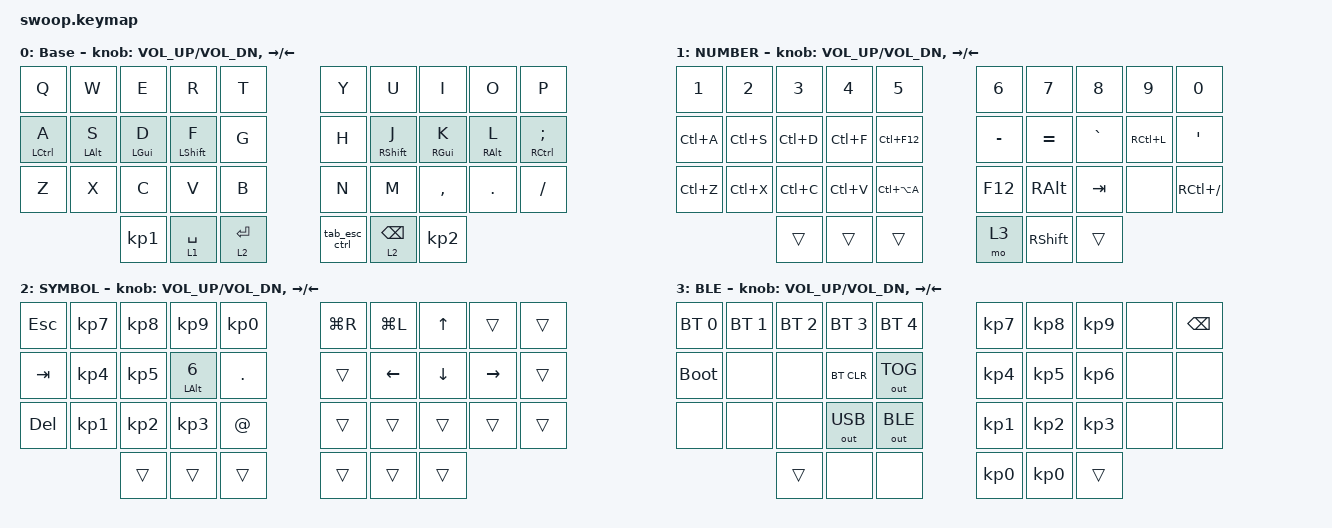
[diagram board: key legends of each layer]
/*
 * Copyright (c) 2020 duckyb
 *
 * SPDX-License-Identifier: MIT
 */

#include <behaviors.dtsi>
#include <dt-bindings/zmk/bt.h>
#include <dt-bindings/zmk/keys.h>
#include <dt-bindings/zmk/outputs.h>

/ {
    behaviors {
        tab_esc_ctrl: tab_esc_ctrl {
            compatible = "zmk,behavior-tap-dance";
            label = "TAB_ESC_CTRL";
            #binding-cells = <0>;
            bindings = <&mt LCTRL ESC>, <&kp TAB>;
        };

        gqt: global-quick-tap {
            compatible = "zmk,behavior-hold-tap";
            label = "GLOBAL_QUICK_TAP";
            bindings = <&kp>, <&kp>;

            #binding-cells = <2>;
            quick-tap-ms = <180>;
            tapping-term-ms = <200>;
            global-quick-tap;
            flavor = "tap-preferred";
        };

        ltq: ltq {
            compatible = "zmk,behavior-hold-tap";
            label = "LTQ";
            bindings = <&mo>, <&kp>;

            #binding-cells = <2>;
            global-quick-tap;
            tapping-term-ms = <200>;
            quick-tap-ms = <180>;
        };
    };

    combos {
        compatible = "zmk,combos";

        left_bkt {
            bindings = <&kp LBKT>;
            key-positions = <3 2>;
            timeout-ms = <50>;
        };

        right_bkt {
            bindings = <&kp RBKT>;
            key-positions = <6 7>;
            timeout-ms = <50>;
        };

        left_par {
            bindings = <&kp LEFT_PARENTHESIS>;
            key-positions = <12 13>;
            timeout-ms = <50>;
        };

        right_par {
            bindings = <&kp RIGHT_PARENTHESIS>;
            key-positions = <16 17>;
            timeout-ms = <50>;
        };

        left_brace {
            bindings = <&kp LEFT_BRACE>;
            key-positions = <23 22>;
            timeout-ms = <50>;
        };

        right_brace {
            bindings = <&kp RIGHT_BRACE>;
            key-positions = <26 27>;
            timeout-ms = <50>;
        };

        bac {
            bindings = <&kp BACKSLASH>;
            key-positions = <4 5>;
        };

        pipe {
            bindings = <&kp PIPE>;
            key-positions = <14 15>;
        };
    };

    macros {
    };

    keymap {
        compatible = "zmk,keymap";

        base {
            label = "Base";
            bindings = <
&kp Q         &kp W            &kp E            &kp R              &kp T          &kp Y          &kp U               &kp I             &kp O        &kp P
&gqt LCTRL A  &gqt LEFT_ALT S  &gqt LEFT_GUI D  &gqt LEFT_SHIFT F  &kp G          &kp H          &gqt RIGHT_SHIFT J  &gqt RIGHT_GUI K  &gqt RALT L  &gqt RCTRL SEMICOLON
&kp Z         &kp X            &kp C            &kp V              &kp B          &kp N          &kp M               &kp COMMA         &kp DOT      &kp FSLH
                               &kp KP_NUMBER_1  &lt 1 SPACE        &lt 2 ENTER    &tab_esc_ctrl  &ltq 2 BACKSPACE    &kp KP_NUMBER_2
            >;

            sensor-bindings = <&inc_dec_kp C_VOL_UP C_VOL_DN &inc_dec_kp RIGHT LEFT>;
        };

        number {
            label = "NUMBER";
            bindings = <
&kp N1     &kp N2     &kp N3     &kp N4     &kp N5           &kp N6     &kp N7           &kp N8     &kp N9     &kp N0
&kp LC(A)  &kp LC(S)  &kp LC(D)  &kp LC(F)  &kp LC(F12)      &kp MINUS  &kp EQUAL        &kp GRAVE  &kp RC(L)  &kp SQT
&kp LC(Z)  &kp LC(X)  &kp LC(C)  &kp LC(V)  &kp LC(LA(A))    &kp F12    &kp RIGHT_ALT    &kp TAB    &none      &kp RC(SLASH)
                      &trans     &trans     &trans           &mo 3      &kp RIGHT_SHIFT  &trans
            >;

            sensor-bindings = <&inc_dec_kp C_VOL_UP C_VOL_DN &inc_dec_kp RIGHT LEFT>;
        };

        symbol {
            label = "SYMBOL";
            bindings = <
&kp ESC  &kp KP_NUMBER_7  &kp KP_NUMBER_8  &kp KP_NUMBER_9        &kp KP_NUMBER_0    &kp LG(R)  &kp LG(L)       &kp UP    &trans     &trans
&kp TAB  &kp KP_NUMBER_4  &kp KP_NUMBER_5  &mt LEFT_ALT NUMBER_6  &kp DOT            &trans     &kp LEFT_ARROW  &kp DOWN  &kp RIGHT  &trans
&kp DEL  &kp KP_NUMBER_1  &kp KP_NUMBER_2  &kp KP_NUMBER_3        &kp AT_SIGN        &trans     &trans          &trans    &trans     &trans
                          &trans           &trans                 &trans             &trans     &trans          &trans
            >;

            sensor-bindings = <&inc_dec_kp C_VOL_UP C_VOL_DN &inc_dec_kp RIGHT LEFT>;
        };

        ble {
            label = "BLE";
            bindings = <
&bt BT_SEL 0  &bt BT_SEL 1  &bt BT_SEL 2  &bt BT_SEL 3  &bt BT_SEL 4    &kp KP_NUMBER_7  &kp KP_NUMBER_8  &kp KP_NUMBER_9  &none  &kp BSPC
&bootloader   &none         &none         &bt BT_CLR    &out OUT_TOG    &kp KP_NUMBER_4  &kp KP_NUMBER_5  &kp KP_NUMBER_6  &none  &none
&none         &none         &none         &out OUT_USB  &out OUT_BLE    &kp KP_NUMBER_1  &kp KP_NUMBER_2  &kp KP_NUMBER_3  &none  &none
                            &trans        &none         &none           &kp KP_N0        &kp KP_N0        &trans
            >;

            sensor-bindings = <&inc_dec_kp C_VOL_UP C_VOL_DN &inc_dec_kp RIGHT LEFT>;
        };
    };
};
